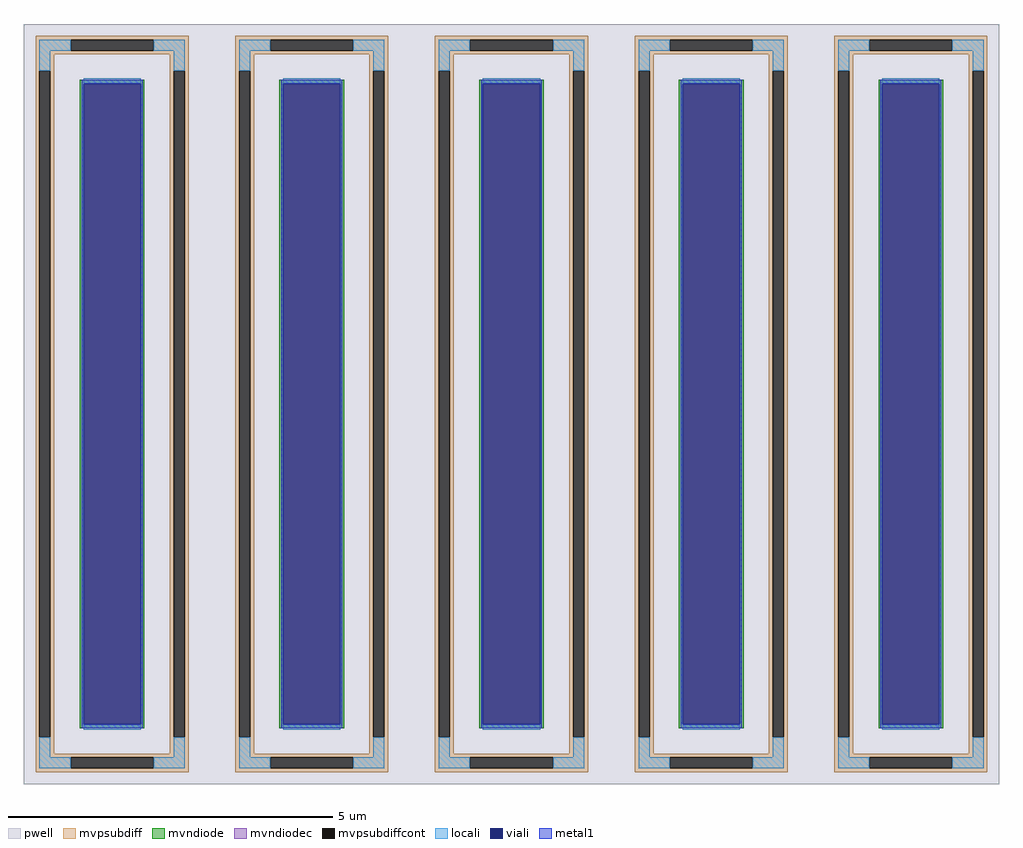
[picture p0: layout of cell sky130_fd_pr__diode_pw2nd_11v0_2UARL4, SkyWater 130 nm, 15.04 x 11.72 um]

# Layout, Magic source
magic
tech sky130A
<< pwell >>
rect -752 -586 752 586
<< mvpsubdiff >>
rect -734 562 -498 568
rect -734 545 -680 562
rect -552 545 -498 562
rect -734 539 -498 545
rect -734 514 -705 539
rect -734 -514 -728 514
rect -711 -514 -705 514
rect -527 514 -498 539
rect -734 -539 -705 -514
rect -527 -514 -521 514
rect -504 -514 -498 514
rect -527 -539 -498 -514
rect -734 -545 -498 -539
rect -734 -562 -680 -545
rect -552 -562 -498 -545
rect -734 -568 -498 -562
rect -426 562 -190 568
rect -426 545 -372 562
rect -244 545 -190 562
rect -426 539 -190 545
rect -426 514 -397 539
rect -426 -514 -420 514
rect -403 -514 -397 514
rect -219 514 -190 539
rect -426 -539 -397 -514
rect -219 -514 -213 514
rect -196 -514 -190 514
rect -219 -539 -190 -514
rect -426 -545 -190 -539
rect -426 -562 -372 -545
rect -244 -562 -190 -545
rect -426 -568 -190 -562
rect -118 562 118 568
rect -118 545 -64 562
rect 64 545 118 562
rect -118 539 118 545
rect -118 514 -89 539
rect -118 -514 -112 514
rect -95 -514 -89 514
rect 89 514 118 539
rect -118 -539 -89 -514
rect 89 -514 95 514
rect 112 -514 118 514
rect 89 -539 118 -514
rect -118 -545 118 -539
rect -118 -562 -64 -545
rect 64 -562 118 -545
rect -118 -568 118 -562
rect 190 562 426 568
rect 190 545 244 562
rect 372 545 426 562
rect 190 539 426 545
rect 190 514 219 539
rect 190 -514 196 514
rect 213 -514 219 514
rect 397 514 426 539
rect 190 -539 219 -514
rect 397 -514 403 514
rect 420 -514 426 514
rect 397 -539 426 -514
rect 190 -545 426 -539
rect 190 -562 244 -545
rect 372 -562 426 -545
rect 190 -568 426 -562
rect 498 562 734 568
rect 498 545 552 562
rect 680 545 734 562
rect 498 539 734 545
rect 498 514 527 539
rect 498 -514 504 514
rect 521 -514 527 514
rect 705 514 734 539
rect 498 -539 527 -514
rect 705 -514 711 514
rect 728 -514 734 514
rect 705 -539 734 -514
rect 498 -545 734 -539
rect 498 -562 552 -545
rect 680 -562 734 -545
rect 498 -568 734 -562
<< mvpsubdiffcont >>
rect -680 545 -552 562
rect -728 -514 -711 514
rect -521 -514 -504 514
rect -680 -562 -552 -545
rect -372 545 -244 562
rect -420 -514 -403 514
rect -213 -514 -196 514
rect -372 -562 -244 -545
rect -64 545 64 562
rect -112 -514 -95 514
rect 95 -514 112 514
rect -64 -562 64 -545
rect 244 545 372 562
rect 196 -514 213 514
rect 403 -514 420 514
rect 244 -562 372 -545
rect 552 545 680 562
rect 504 -514 521 514
rect 711 -514 728 514
rect 552 -562 680 -545
<< mvndiode >>
rect -666 494 -566 500
rect -666 -494 -660 494
rect -572 -494 -566 494
rect -666 -500 -566 -494
rect -358 494 -258 500
rect -358 -494 -352 494
rect -264 -494 -258 494
rect -358 -500 -258 -494
rect -50 494 50 500
rect -50 -494 -44 494
rect 44 -494 50 494
rect -50 -500 50 -494
rect 258 494 358 500
rect 258 -494 264 494
rect 352 -494 358 494
rect 258 -500 358 -494
rect 566 494 666 500
rect 566 -494 572 494
rect 660 -494 666 494
rect 566 -500 666 -494
<< mvndiodec >>
rect -660 -494 -572 494
rect -352 -494 -264 494
rect -44 -494 44 494
rect 264 -494 352 494
rect 572 -494 660 494
<< locali >>
rect -728 545 -680 562
rect -552 545 -504 562
rect -728 514 -711 545
rect -521 514 -504 545
rect -660 494 -572 502
rect -660 -502 -572 -494
rect -728 -545 -711 -514
rect -521 -545 -504 -514
rect -728 -562 -680 -545
rect -552 -562 -504 -545
rect -420 545 -372 562
rect -244 545 -196 562
rect -420 514 -403 545
rect -213 514 -196 545
rect -352 494 -264 502
rect -352 -502 -264 -494
rect -420 -545 -403 -514
rect -213 -545 -196 -514
rect -420 -562 -372 -545
rect -244 -562 -196 -545
rect -112 545 -64 562
rect 64 545 112 562
rect -112 514 -95 545
rect 95 514 112 545
rect -44 494 44 502
rect -44 -502 44 -494
rect -112 -545 -95 -514
rect 95 -545 112 -514
rect -112 -562 -64 -545
rect 64 -562 112 -545
rect 196 545 244 562
rect 372 545 420 562
rect 196 514 213 545
rect 403 514 420 545
rect 264 494 352 502
rect 264 -502 352 -494
rect 196 -545 213 -514
rect 403 -545 420 -514
rect 196 -562 244 -545
rect 372 -562 420 -545
rect 504 545 552 562
rect 680 545 728 562
rect 504 514 521 545
rect 711 514 728 545
rect 572 494 660 502
rect 572 -502 660 -494
rect 504 -545 521 -514
rect 711 -545 728 -514
rect 504 -562 552 -545
rect 680 -562 728 -545
<< viali >>
rect -660 -494 -572 494
rect -352 -494 -264 494
rect -44 -494 44 494
rect 264 -494 352 494
rect 572 -494 660 494
<< metal1 >>
rect -663 494 -569 500
rect -663 -494 -660 494
rect -572 -494 -569 494
rect -663 -500 -569 -494
rect -355 494 -261 500
rect -355 -494 -352 494
rect -264 -494 -261 494
rect -355 -500 -261 -494
rect -47 494 47 500
rect -47 -494 -44 494
rect 44 -494 47 494
rect -47 -500 47 -494
rect 261 494 355 500
rect 261 -494 264 494
rect 352 -494 355 494
rect 261 -500 355 -494
rect 569 494 663 500
rect 569 -494 572 494
rect 660 -494 663 494
rect 569 -500 663 -494
<< properties >>
string FIXED_BBOX 512 -553 719 553
string gencell sky130_fd_pr__diode_pw2nd_11v0
string library sky130
string parameters w 1 l 10 area 10.0 peri 22.0 nx 5 ny 1 dummy 0 lmin 0.45 wmin 0.45 elc 1 erc 1 etc 1 ebc 1 doverlap 0 compatible {sky130_fd_pr__diode_pw2nd_05v5 sky130_fd_pr__diode_pw2nd_05v5_lvt  sky130_fd_pr__diode_pw2nd_05v5_nvt sky130_fd_pr__diode_pw2nd_11v0} full_metal 1 vias 1 viagb 0 viagt 0 viagl 0 viagr 0
<< end >>
